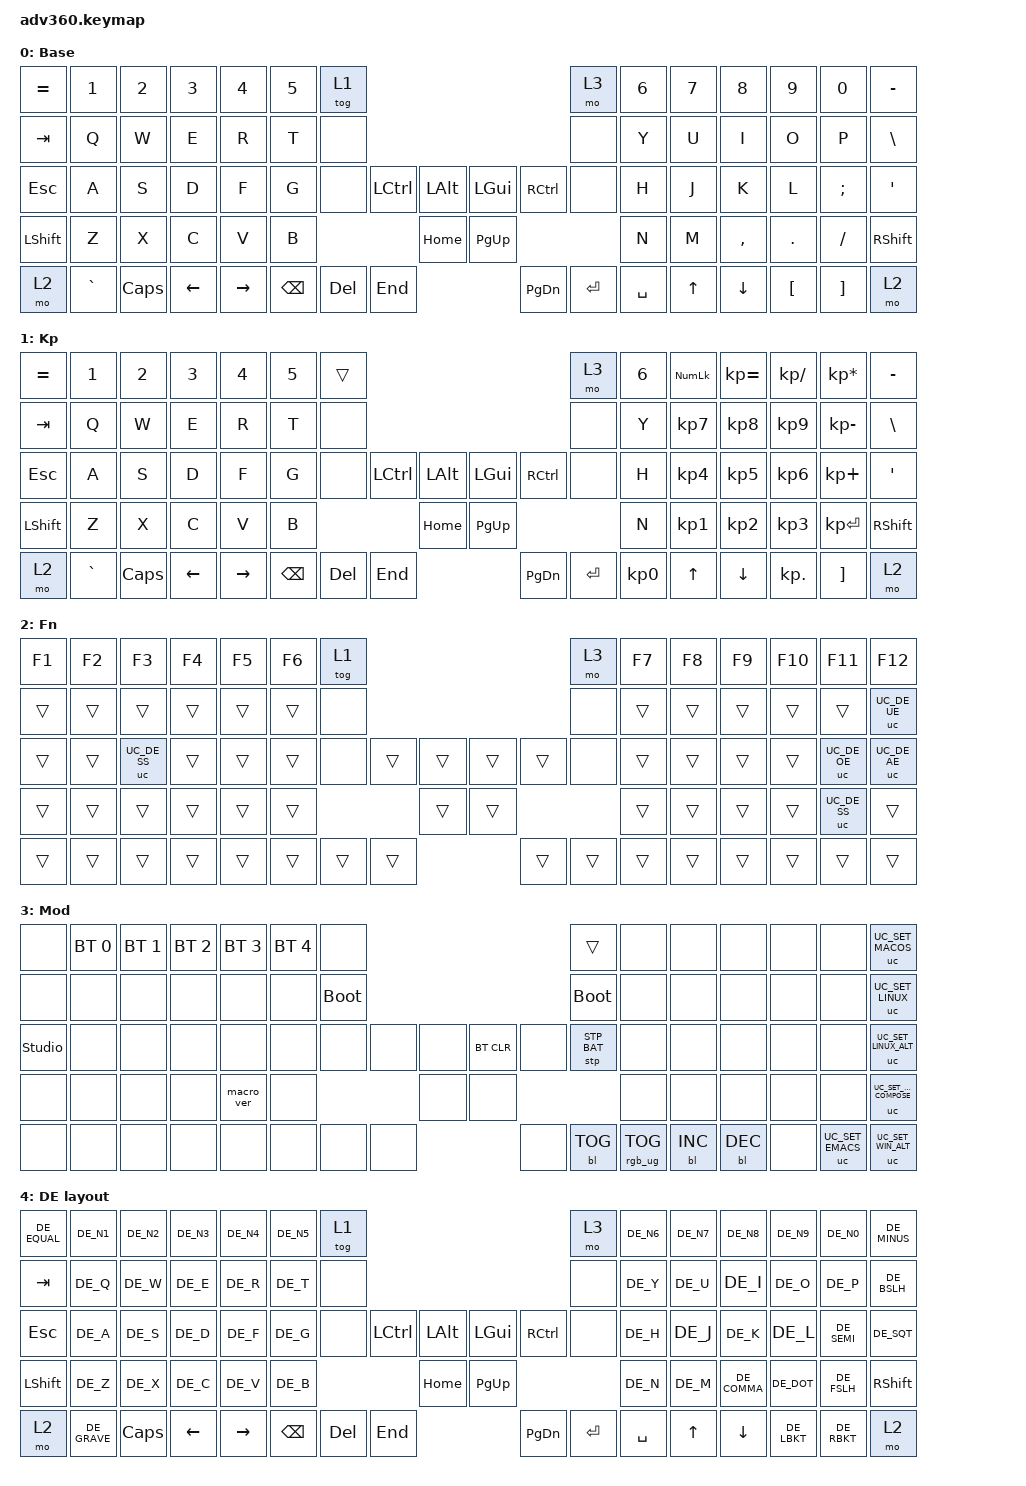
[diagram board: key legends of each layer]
#include <behaviors.dtsi>
#include <behaviors/unicode.dtsi>
#include <locale/keys_de.h>
#include <dt-bindings/zmk/keys.h>
#include <dt-bindings/zmk/bt.h>
#include <dt-bindings/zmk/rgb.h>
#include <dt-bindings/zmk/stp.h>
#include <dt-bindings/zmk/backlight.h>
#include <dt-bindings/zmk/pointing.h>

&uc {
  default-mode = <UC_MODE_LINUX>;
};

/ {
    behaviors {
      #include "macros.dtsi"
      #include "version.dtsi"

      hm: homerow_mods {
          compatible = "zmk,behavior-hold-tap";
          label = "HOMEROW_MODS";
          #binding-cells = <2>;
          tapping-term-ms = <200>;
          quick_tap_ms = <175>;
          flavor = "tap-preferred";
          bindings = <&kp>, <&kp>;
      };
    };

  keymap {
    compatible = "zmk,keymap";

    default_layer {
      display-name = "Base";
       bindings = <
              &kp EQUAL &kp N1    &kp N2   &kp N3   &kp N4     &kp N5 &tog 1                                                           &mo 3 &kp N6 &kp N7 &kp N8    &kp N9   &kp N0   &kp MINUS
              &kp TAB   &kp Q     &kp W    &kp E    &kp R      &kp T  &none                                                            &none &kp Y  &kp U  &kp I     &kp O    &kp P    &kp BSLH
              &kp ESC   &kp A     &kp S    &kp D    &kp F      &kp G  &none           &kp LCTRL &kp LALT &kp LGUI  &kp RCTRL           &none &kp H  &kp J  &kp K     &kp L    &kp SEMI &kp SQT
              &kp LSHFT &kp Z     &kp X    &kp C    &kp V      &kp B                            &kp HOME &kp PG_UP                           &kp N  &kp M  &kp COMMA &kp DOT  &kp FSLH &kp RSHFT
              &mo 2     &kp GRAVE &kp CAPS &kp LEFT &kp RIGHT                &kp BSPC &kp DEL   &kp END  &kp PG_DN &kp ENTER &kp SPACE              &kp UP &kp DOWN  &kp LBKT &kp RBKT &mo 2
            >;
    };
    keypad {
      display-name = "Kp";
      bindings = <
        &kp EQUAL &kp N1    &kp N2   &kp N3   &kp N4     &kp N5 &trans                                                           &mo 3 &kp N6 &kp KP_NUM &kp KP_EQUAL &kp KP_DIVIDE &kp KP_MULTIPLY &kp MINUS
        &kp TAB   &kp Q     &kp W    &kp E    &kp R      &kp T  &none                                                            &none &kp Y  &kp KP_N7  &kp KP_N8    &kp KP_N9     &kp KP_MINUS    &kp BSLH
        &kp ESC   &kp A     &kp S    &kp D    &kp F      &kp G  &none           &kp LCTRL &kp LALT &kp LGUI  &kp RCTRL           &none &kp H  &kp KP_N4  &kp KP_N5    &kp KP_N6     &kp KP_PLUS     &kp SQT
        &kp LSHFT &kp Z     &kp X    &kp C    &kp V      &kp B                            &kp HOME &kp PG_UP                           &kp N  &kp KP_N1  &kp KP_N2    &kp KP_N3     &kp KP_ENTER    &kp RSHFT
        &mo 2     &kp GRAVE &kp CAPS &kp LEFT &kp RIGHT                &kp BSPC &kp DEL   &kp END  &kp PG_DN &kp ENTER &kp KP_N0              &kp UP     &kp DOWN     &kp KP_DOT    &kp RBKT        &mo 2
      >;
    };
    fn {
      display-name = "Fn";
      bindings = <
        &kp F1 &kp F2 &kp F3        &kp F4 &kp F5 &kp F6 &tog 1                                           &mo 3 &kp F7 &kp F8 &kp F9 &kp F10 &kp F11       &kp F12
        &trans &trans &trans        &trans &trans &trans  &none                                           &none &trans &trans &trans &trans  &trans        &uc UC_DE_UE
        &trans &trans &uc UC_DE_SS  &trans &trans &trans  &none        &trans &trans &trans &trans        &none &trans &trans &trans &trans  &uc UC_DE_OE  &uc UC_DE_AE
        &trans &trans &trans        &trans &trans &trans                      &trans &trans                     &trans &trans &trans &trans  &uc UC_DE_SS  &trans
        &trans &trans &trans        &trans &trans               &trans &trans &trans &trans &trans &trans              &trans &trans &trans  &trans        &trans
      >;
    };
    mod {
      display-name = "Mod";
      bindings = <
        &none &bt BT_SEL 0 &bt BT_SEL 1 &bt BT_SEL 2 &bt BT_SEL 3 &bt BT_SEL 4 &none                                                                     &trans                 &none        &none        &none        &none &none              &uc UC_SET_MACOS
        &none &none        &none        &none        &none        &none        &bootloader                                                               &bootloader            &none        &none        &none        &none &none              &uc UC_SET_LINUX
        &studio_unlock     &none        &none        &none        &none        &none        &none                  &none &none &bt BT_CLR &none                    &stp STP_BAT &none        &none        &none        &none &none              &uc UC_SET_LINUX_ALT
        &none &none        &none        &none        &macro_ver   &none                                      &none &none                                                        &none        &none        &none        &none &none              &uc UC_SET_WIN_COMPOSE
        &none &none        &none        &none        &none                                       &none &none &none &none      &bl BL_TOG &rgb_ug RGB_TOG                                     &bl BL_INC   &bl BL_DEC   &none &uc UC_SET_EMACS   &uc UC_SET_WIN_ALT
      >;
    };
    extra1 { 
      display-name = "DE layout";
      bindings = <
        &kp DE_EQUAL &kp DE_N1    &kp DE_N2   &kp DE_N3   &kp DE_N4     &kp DE_N5 &tog 1                                                           &mo 3 &kp DE_N6 &kp DE_N7 &kp DE_N8    &kp DE_N9   &kp DE_N0   &kp DE_MINUS
        &kp TAB      &kp DE_Q     &kp DE_W    &kp DE_E    &kp DE_R      &kp DE_T  &none                                                            &none &kp DE_Y  &kp DE_U  &kp DE_I     &kp DE_O    &kp DE_P    &kp DE_BSLH
        &kp ESC      &kp DE_A     &kp DE_S    &kp DE_D    &kp DE_F      &kp DE_G  &none           &kp LCTRL &kp LALT &kp LGUI  &kp RCTRL           &none &kp DE_H  &kp DE_J  &kp DE_K     &kp DE_L    &kp DE_SEMI &kp DE_SQT
        &kp LSHFT    &kp DE_Z     &kp DE_X    &kp DE_C    &kp DE_V      &kp DE_B                            &kp HOME &kp PG_UP                           &kp DE_N  &kp DE_M  &kp DE_COMMA &kp DE_DOT  &kp DE_FSLH &kp RSHFT
        &mo 2        &kp DE_GRAVE &kp CAPS    &kp LEFT    &kp RIGHT                &kp BSPC &kp DEL   &kp END  &kp PG_DN &kp ENTER &kp SPACE                       &kp UP    &kp DOWN     &kp DE_LBKT &kp DE_RBKT &mo 2
      >;
    };

    extra2 { 
      display-name = "Purple";    
      status = "reserved";
    };

    extra3 { 
      display-name = "Cyan";    
      status = "reserved";
    };

    extra4 { 
      display-name = "Yellow";    
      status = "reserved";
    };
  };
};
